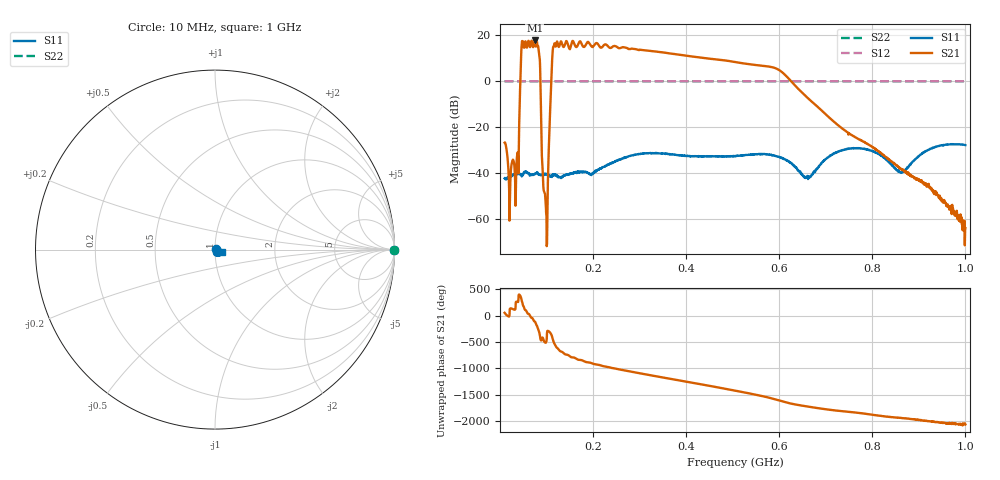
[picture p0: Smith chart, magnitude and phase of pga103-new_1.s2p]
! Anritsu VNA Master:  Model: MS2024B
! SN:  2417009
! /card0/usr/pga103-new_1.s2p
! Existing Calibration Information:
! TYPE:  Current Settings,  Active Cal Settings
! TIME:  10/08/2026 03:08:59 AM,  10/08/2026 02:19:59 AM
! INTERNAL TEMP:  46.5 C,  45.5 C
! # POINTS:  1609,  1609
! START FREQ:  10.000 MHz,  10.000 MHz
! STOP FREQ:  1.000 GHz,  1.000 GHz
! SOURCE POWER:  Default,  Default
! IFBW:  1 kHz,  1 kHz
! AVG FACTOR:  1 ,  1
! REF PLANE 1:  0 mm,  0 mm
! REF PLANE 2:  0 mm,  0 mm
! CAL TYPE:  1P2P S11,S21,  1P2P S11,S21
! CAL METHOD:  SOLT,  SOLT
! CAL LINE TYPE:  Coax,  Coax
! DUT PORT 1:  N-Conn(M),  N-Conn(M)
! DUT PORT 2:  N-Conn(M),  N-Conn(M)
! CAL STATUS:  OK: Accuracy High,  --
# GHZ S DB R 50.0
! FREQ.GHZ  S11DB  S11A  S21DB  S21A  S12DB  S12A  S22DB  S22A
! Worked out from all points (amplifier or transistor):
!   1609 points, 10 MHz to 1 GHz, reference 50 ohm
!   highest |S21| = 17.7 dB at 74.65 MHz (marker M1)
!   |S21| within 3 dB of that: 151.6 MHz to 215.4 MHz (63.86 MHz wide, 34.8 % of centre)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
!   unconditionally stable (mu >= 1): nowhere
!   at 175 MHz: K = 3.32, MSG = 8.2 dB, |S12| = 0.0 dB
!   at 505 MHz: K = 1.29, MSG = 4.2 dB, |S12| = 0.0 dB
!   at 1 GHz: K = 0.01, MSG = -32.0 dB, |S12| = 0.0 dB
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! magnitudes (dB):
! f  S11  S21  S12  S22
! 10 MHz  -42.3  -26.8  0.0  0.0
! 20.47 MHz  -41.8  -60.8  0.0  0.0
! 35.24 MHz  -40.1  -38.0  0.0  0.0
! 46.32 MHz  -41.1  14.9  0.0  0.0
! 49.4 MHz  -40.5  15.9  0.0  0.0
! 74.65 MHz  -40.6  17.7  0.0  0.0
! 83.26 MHz  -40.5  13.4  0.0  0.0
! 93.12 MHz  -40.6  -45.4  0.0  0.0
! 98.04 MHz  -40.5  -52.5  0.0  0.0
! 103.6 MHz  -40.4  -38.6  0.0  0.0
! 111.6 MHz  -41.7  6.9  0.0  0.0
! 117.1 MHz  -40.7  16.5  0.0  0.0
! 175 MHz  -39.4  16.5  0.0  0.0
! 340 MHz  -31.4  12.8  0.0  0.0
! 505 MHz  -32.6  8.3  0.0  0.0
! 596.1 MHz  -32.7  5.3  0.0  0.0
! 670 MHz  -40.9  -8.9  0.0  0.0
! 748.8 MHz  -29.5  -23.3  0.0  0.0
! 835 MHz  -35.2  -34.1  0.0  0.0
! 863.9 MHz  -39.6  -38.6  0.0  0.0
! 927.4 MHz  -29.3  -47.4  0.0  0.0
! 1 GHz  -27.9  -64.0  0.0  0.0
